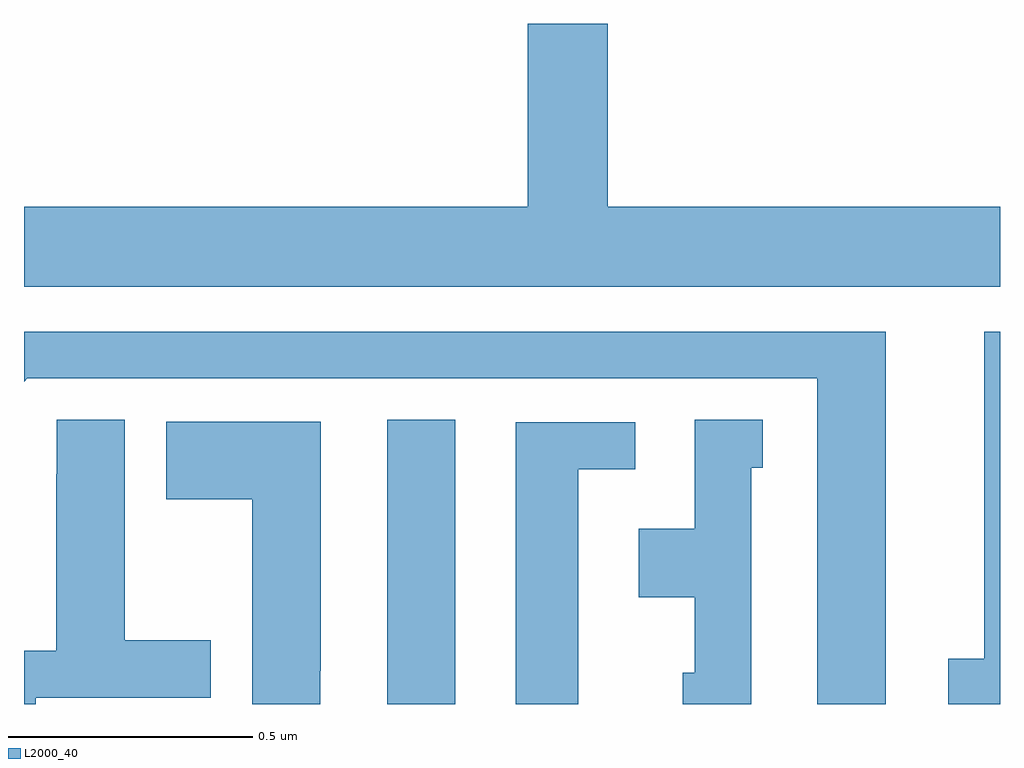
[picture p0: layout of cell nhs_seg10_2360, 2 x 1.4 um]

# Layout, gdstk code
import gdstk
lib = gdstk.Library(unit=1e-6, precision=1e-09)
def R(c, l, rs):  # rectangles x0, y0, x1, y1
    for r in rs: c.add(gdstk.rectangle(r[:2], r[2:], *l))
def P(c, l, *ps):  # polygons
    for p in ps: c.add(gdstk.Polygon(p, *l))
L2000_40 = (2000, 40)

nhs_seg10_2360 = lib.new_cell('nhs_seg10_2360')
R(nhs_seg10_2360, L2000_40, [(140.744,1259.5,140.884,1260.083)])
P(nhs_seg10_2360, L2000_40, [(142,1260.52),(141.196,1260.52),(141.196,1260.895),(141.032,1260.895),(141.032,1260.52),(140,1260.52),(140,1260.356),(142,1260.356)],
  [(141.766,1260.264),(140,1260.264),(140,1260.161),(140.007,1260.168),(141.626,1260.168),(141.626,1259.5),(141.766,1259.5)],
  [(142,1260.264),(141.968,1260.264),(141.968,1259.594),(141.894,1259.594),(141.894,1259.5),(142,1259.5)],
  [(140.024,1259.514),(140.383,1259.514),(140.383,1259.631),(140.206,1259.631),(140.206,1260.083),(140.067,1260.083),(140.067,1259.972),(140.066,1259.972),(140.066,1259.61),(140,1259.61),(140,1259.5),(140.024,1259.5)],
  [(141.49,1259.985),(141.514,1259.985),(141.514,1260.083),(141.374,1260.083),(141.374,1259.86),(141.26,1259.86),(141.26,1259.72),(141.374,1259.72),(141.374,1259.565),(141.35,1259.565),(141.35,1259.5),(141.49,1259.5)],
  [(140.607,1259.569),(140.608,1259.569),(140.608,1260.079),(140.291,1260.079),(140.291,1259.92),(140.468,1259.92),(140.468,1259.5),(140.607,1259.5)],
  [(141.136,1259.982),(141.253,1259.982),(141.253,1260.078),(141.008,1260.078),(141.008,1259.5),(141.136,1259.5)])

lib.write_gds('nhs_seg10_2360.gds')
